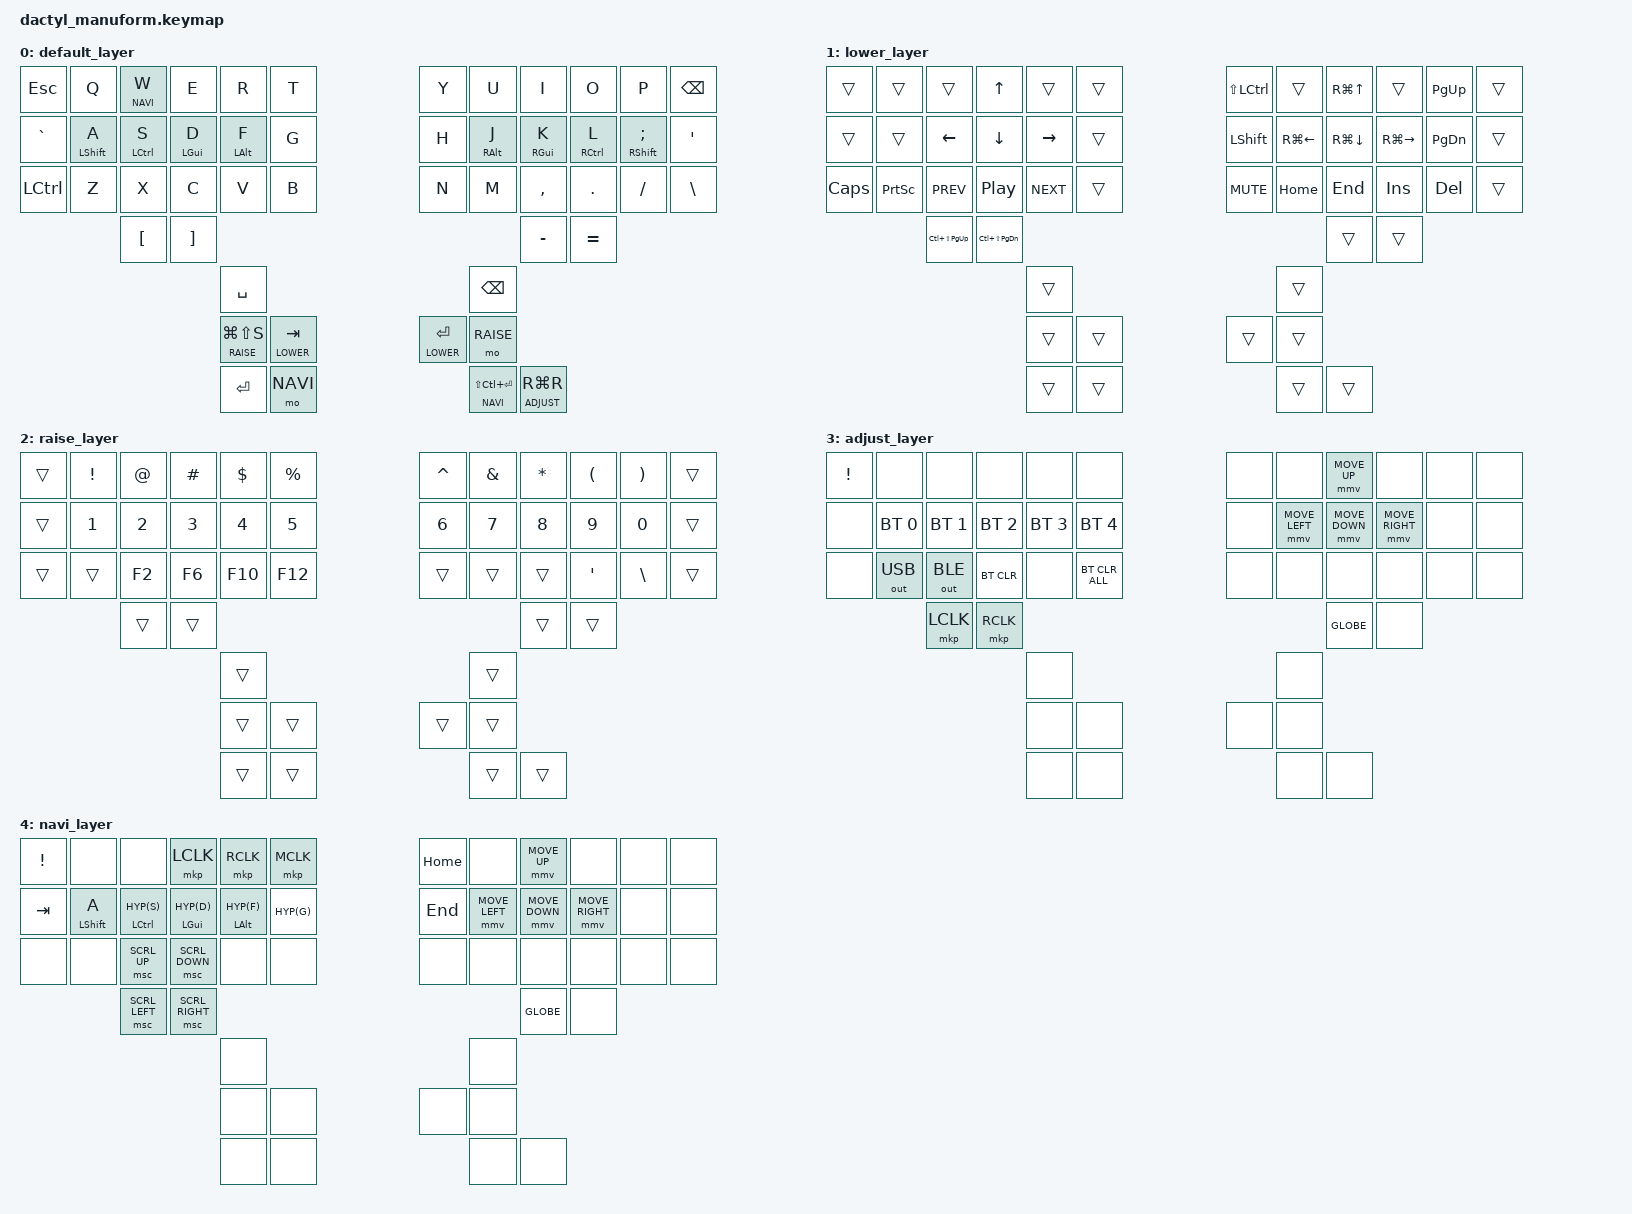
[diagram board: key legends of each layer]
// Mouse movement speed (adjust as needed: 400-800 slow, 1000-1500 medium, 2000+ fast)
#define MOUSE_MOVE_SPEED 1500

#include <behaviors.dtsi>
#include <dt-bindings/zmk/keys.h>
#include <dt-bindings/zmk/bt.h>
#include <dt-bindings/zmk/outputs.h>
// #include <dt-bindings/zmk/mouse.h>
#include <dt-bindings/zmk/pointing.h>


//LAYERS
#define DEFAULT 0
#define LOWER   1
#define RAISE   2
#define ADJUST  3
#define NAVI    4

//OTHER DEFINITIONS
/* Hyper modifier macro (Ctrl+Alt+Shift) */
#define HYP(key) LS(LC(LA(key)))
/* Windows+Alt modifier macro */
#define WALT(key) LG(LA(key))

&mt {
    flavor = "balanced";
    tapping-term-ms = <200>;
    quick-tap-ms = <120>;
};
/ {
    behaviors {
        /* 
         * Custom Hold-Tap Behavior
         * Allows holding a layer (&mo) and tapping a modified shortcut (&kp)
         */
        lt_mod: layer_tap_modified {
            compatible = "zmk,behavior-hold-tap";
            #binding-cells = <2>;
            flavor = "balanced";
            tapping-term-ms = <200>;
            quick-tap-ms = <110>;
            bindings = <&mo>, <&kp>;
        };
    };

    keymap {
        compatible = "zmk,keymap";

        default_layer {
            // Left Hand Keys:                          Right Hand Keys:
            // Esc   Q W E R T                          Y U I O P BSPC
            // Tab   A S D F G                          H J K L ; '
            // LCTRL Z X C V B                          N M , . / \
            //     [ ]                                    - =
            //         SPACE                              BSPC
            //             RAISE LOWER         LOWER RAISE
            //             ADJUST ESC          ENTER ADJUST
            bindings = <
                &kp ESC    &kp Q        &lt NAVI W   &kp E        &kp R       &kp T                                   &kp Y      &kp U       &kp I        &kp O        &kp P                &kp BSPC
                &kp GRAVE    &mt LSHFT A  &mt LCTRL S  &mt LGUI D   &mt LALT F  &kp G                                   &kp H      &mt RALT J  &mt RGUI K   &mt RCTRL L  &mt RSHFT SEMICOLON  &kp SQT
                &kp LCTRL  &kp Z        &kp X        &kp C        &kp V       &kp B                                   &kp N      &kp M       &kp COMMA    &kp DOT      &kp SLASH            &kp BSLH
                                        &kp LBKT     &kp RBKT                                                                                &kp MINUS    &kp EQUAL
                                                                  &kp SPACE                                                      &kp BSPC
                                                                    &lt_mod RAISE LG(LS(S))   &lt LOWER TAB         &lt LOWER ENTER  &mo RAISE
                                                                    &kp ENTER                &mo NAVI               &lt_mod	NAVI LS(LC(ENTER))  &lt_mod ADJUST RG(R)
            >;
        };
	
        lower_layer {
            // Left Hand Keys:                    Right Hand Keys:
            // - - - - - -                         VOL+ - UP - PGUP -
            // - - - - - -                         VOL- LEFT DOWN RIGHT PGDN -
            // CAPS PSCRN PREV PP NEXT -            MUTE HOME END INS DEL -
            //     - -                                - -
            //          -                           -
            //             - -                  - -
            //             - -                  - -
            bindings = <
                &trans       &trans       &trans       &kp UP       &trans       &trans                                     &kp LS(LCTRL) &trans        &kp RG(UP)       &trans         &kp PG_UP     &trans
                &trans       &trans       &kp LEFT     &kp DOWN     &kp RIGHT    &trans                                     &kp LSHFT     &kp RG(LEFT)  &kp RG(DOWN)     &kp RG(RIGHT)  &kp PG_DN     &trans
                &kp CAPS     &kp PSCRN    &kp C_PREV   &kp C_PP     &kp C_NEXT   &trans                                     &kp C_MUTE    &kp HOME      &kp END          &kp INS        &kp DEL       &trans
                                          &kp LC(LS(PG_UP))      &kp LC(LS(PG_DN))                                                                                              &trans       &trans
                                                                    &trans                                                                &trans
                                                                                 &trans       &trans           &trans       &trans
                                                                                 &trans       &trans           &trans       &trans
            >;
        };

        raise_layer {
            // Left Hand Keys:                    Right Hand Keys:
            // - ! @ # $ %                          ^ & * ( ) -
            // - 1 2 3 4 5                          6 7 8 9 0 -
            // - - - - - -                          - - - ' \ -
            //     - -                                  - -
            //           -                          -
            //             - -                  - -
            //             - -                  - -
            bindings = <
                &trans      &kp EXCL     &kp AT       &kp HASH     &kp DLLR     &kp PRCNT                                 &kp CARET     &kp AMPS    &kp ASTRK    &kp LPAR         &kp RPAR      &trans
                &trans      &kp N1       &kp N2       &kp N3       &kp N4       &kp N5                                    &kp N6        &kp N7      &kp N8       &kp N9           &kp N0        &trans
                &trans      &trans       &kp F2       &kp F6       &kp F10      &kp F12                                   &trans        &trans      &trans       &kp SINGLE_QUOTE &kp BSLH      &trans
                                         &trans       &trans                                                                                        &trans       &trans
                                                                   &trans                                                               &trans
                                                                                &trans       &trans            &trans     &trans
                                                                                &trans       &trans            &trans     &trans
            >;
        };
		

        adjust_layer {
            // Left Hand Keys:                    Right Hand Keys:
            // F1 F2 F3 F4 F5                      F6 F7 F8 F9 F10
            // BT0 BT1 BT2 BT3 BT4                 - - - F11 F12
            // USB BLE - - -                       - - - - -
            //     BT_CLR BT_CLR_ALL                   - -
            //         - -                      - -
            //             - -    - -
            //             - -    - -
            bindings = <
                &kp EXCL  &none        &none        &none        &none        &none                                   &none         &none           &mmv MOVE_UP    &none            &none  &none
                &none  &bt BT_SEL 0 &bt BT_SEL 1 &bt BT_SEL 2 &bt BT_SEL 3 &bt BT_SEL 4                               &none         &mmv MOVE_LEFT  &mmv MOVE_DOWN  &mmv MOVE_RIGHT  &none  &none
                &none  &out OUT_USB &out OUT_BLE &bt BT_CLR   &none        &bt BT_CLR_ALL                             &none         &none           &none           &none            &none  &none
                                    &mkp LCLK    &mkp RCLK                                                                                          &kp GLOBE       &none
                                                              &none                                                                 &none
                                                                           &none        &none           &none         &none
                                                                           &none        &none           &none         &none
            >;
        };
		
		navi_layer {
            // Left Hand Keys:                    Right Hand Keys:
            // - ! @ # $ %                          ^ & * ( ) -
            // - 1 2 3 4 5                          6 7 8 9 0 -
            // - - - - - -                          - - - ' \ -
            //     - -                                  - -
            //           -                          -
            //             - -                  - -
            //             - -                  - -
            bindings = <
                &kp EXCL  &none        &none             &mkp LCLK         &mkp RCLK        &mkp MCLK                         &kp HOME      &none           &mmv MOVE_UP    &none            &none  &none
                &kp TAB   &mt LSHFT A  &mt LCTRL HYP(S)  &mt LGUI HYP(D)   &mt LALT HYP(F)  &kp HYP(G)                        &kp END       &mmv MOVE_LEFT  &mmv MOVE_DOWN  &mmv MOVE_RIGHT  &none  &none
                &none     &none        &msc SCRL_UP      &msc SCRL_DOWN    &none            &none                             &none         &none           &none           &none            &none  &none
                                       &msc SCRL_LEFT    &msc SCRL_RIGHT                                                                                          &kp GLOBE       &none
                                                              &none                                                                 &none
                                                                           &none        &none           &none         &none
                                                                           &none        &none           &none         &none
            >;
        };
		
		
    };
};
